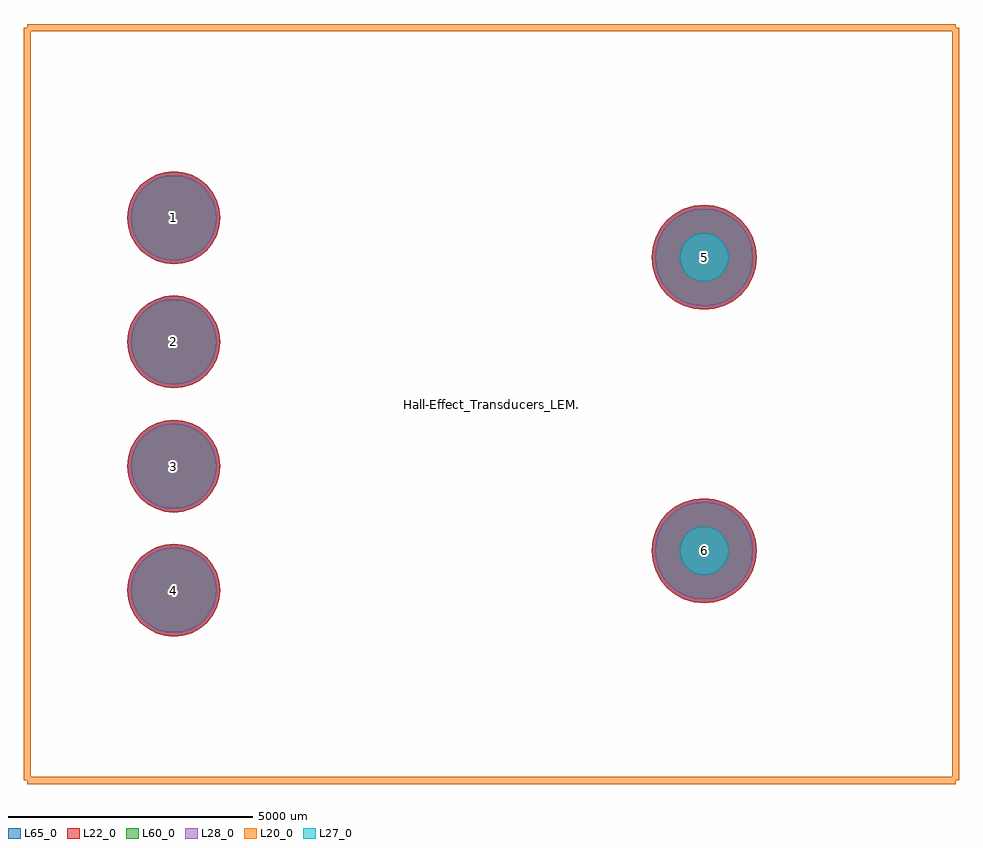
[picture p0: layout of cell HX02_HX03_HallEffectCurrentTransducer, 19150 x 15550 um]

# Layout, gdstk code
import gdstk
lib = gdstk.Library(unit=1e-6, precision=1e-09)
def P(c, l, *ps):  # polygons
    for p in ps: c.add(gdstk.Polygon(p, *l))
L20_0 = (20, 0)
L22_0 = (22, 0)
L27_0 = (27, 0)
L28_0 = (28, 0)
L60_0 = (60, 0)
L65_0 = (65, 0)

hx02_hx03_halleffectcurr = lib.new_cell('HX02_HX03_HallEffectCurrentTransducer')
P(hx02_hx03_halleffectcurr, L22_0, [(-5550,-3810),(-5568.254,-3624.664),(-5622.314,-3446.451),(-5710.104,-3282.208),(-5828.249,-3138.249),(-5972.208,-3020.104),(-6136.451,-2932.314),(-6314.664,-2878.254),(-6500,-2860),(-6685.336,-2878.254),(-6863.549,-2932.314),(-7027.792,-3020.104),(-7171.751,-3138.249),(-7289.896,-3282.208),(-7377.686,-3446.451),(-7431.746,-3624.664),(-7450,-3810),(-7431.746,-3995.336),(-7377.686,-4173.549),(-7289.896,-4337.792),(-7171.751,-4481.751),(-7027.792,-4599.896),(-6863.549,-4687.686),(-6685.336,-4741.746),(-6500,-4760),(-6314.664,-4741.746),(-6136.451,-4687.686),(-5972.208,-4599.896),(-5828.249,-4481.751),(-5710.104,-4337.792),(-5622.314,-4173.549),(-5568.254,-3995.336)],
  [(-5550,3810),(-5568.254,3995.336),(-5622.314,4173.549),(-5710.104,4337.792),(-5828.249,4481.751),(-5972.208,4599.896),(-6136.451,4687.686),(-6314.664,4741.746),(-6500,4760),(-6685.336,4741.746),(-6863.549,4687.686),(-7027.792,4599.896),(-7171.751,4481.751),(-7289.896,4337.792),(-7377.686,4173.549),(-7431.746,3995.336),(-7450,3810),(-7431.746,3624.664),(-7377.686,3446.451),(-7289.896,3282.208),(-7171.751,3138.249),(-7027.792,3020.104),(-6863.549,2932.314),(-6685.336,2878.254),(-6500,2860),(-6314.664,2878.254),(-6136.451,2932.314),(-5972.208,3020.104),(-5828.249,3138.249),(-5710.104,3282.208),(-5622.314,3446.451),(-5568.254,3624.664)],
  [(-5550,1270),(-5568.254,1455.336),(-5622.314,1633.549),(-5710.104,1797.792),(-5828.249,1941.751),(-5972.208,2059.896),(-6136.451,2147.686),(-6314.664,2201.746),(-6500,2220),(-6685.336,2201.746),(-6863.549,2147.686),(-7027.792,2059.896),(-7171.751,1941.751),(-7289.896,1797.792),(-7377.686,1633.549),(-7431.746,1455.336),(-7450,1270),(-7431.746,1084.664),(-7377.686,906.451),(-7289.896,742.208),(-7171.751,598.249),(-7027.792,480.104),(-6863.549,392.314),(-6685.336,338.254),(-6500,320),(-6314.664,338.254),(-6136.451,392.314),(-5972.208,480.104),(-5828.249,598.249),(-5710.104,742.208),(-5622.314,906.451),(-5568.254,1084.664)],
  [(-5550,-1270),(-5568.254,-1084.664),(-5622.314,-906.451),(-5710.104,-742.208),(-5828.249,-598.249),(-5972.208,-480.104),(-6136.451,-392.314),(-6314.664,-338.254),(-6500,-320),(-6685.336,-338.254),(-6863.549,-392.314),(-7027.792,-480.104),(-7171.751,-598.249),(-7289.896,-742.208),(-7377.686,-906.451),(-7431.746,-1084.664),(-7450,-1270),(-7431.746,-1455.336),(-7377.686,-1633.549),(-7289.896,-1797.792),(-7171.751,-1941.751),(-7027.792,-2059.896),(-6863.549,-2147.686),(-6685.336,-2201.746),(-6500,-2220),(-6314.664,-2201.746),(-6136.451,-2147.686),(-5972.208,-2059.896),(-5828.249,-1941.751),(-5710.104,-1797.792),(-5622.314,-1633.549),(-5568.254,-1455.336)],
  [(5425,-3000),(5404.344,-2790.278),(5343.17,-2588.615),(5243.83,-2402.762),(5110.14,-2239.86),(4947.238,-2106.17),(4761.385,-2006.83),(4559.722,-1945.656),(4350,-1925),(4140.278,-1945.656),(3938.615,-2006.83),(3752.762,-2106.17),(3589.86,-2239.86),(3456.17,-2402.762),(3356.83,-2588.615),(3295.656,-2790.278),(3275,-3000),(3295.656,-3209.722),(3356.83,-3411.385),(3456.17,-3597.238),(3589.86,-3760.14),(3752.762,-3893.83),(3938.615,-3993.17),(4140.278,-4054.344),(4350,-4075),(4559.722,-4054.344),(4761.385,-3993.17),(4947.238,-3893.83),(5110.14,-3760.14),(5243.83,-3597.238),(5343.17,-3411.385),(5404.344,-3209.722)],
  [(5425,3000),(5404.344,3209.722),(5343.17,3411.385),(5243.83,3597.238),(5110.14,3760.14),(4947.238,3893.83),(4761.385,3993.17),(4559.722,4054.344),(4350,4075),(4140.278,4054.344),(3938.615,3993.17),(3752.762,3893.83),(3589.86,3760.14),(3456.17,3597.238),(3356.83,3411.385),(3295.656,3209.722),(3275,3000),(3295.656,2790.278),(3356.83,2588.615),(3456.17,2402.762),(3589.86,2239.86),(3752.762,2106.17),(3938.615,2006.83),(4140.278,1945.656),(4350,1925),(4559.722,1945.656),(4761.385,2006.83),(4947.238,2106.17),(5110.14,2239.86),(5243.83,2402.762),(5343.17,2588.615),(5404.344,2790.278)])
P(hx02_hx03_halleffectcurr, L27_0, [(4849.999,-3000),(4840.392,-2902.455),(4811.939,-2808.659),(4765.734,-2722.215),(4703.553,-2646.447),(4627.785,-2584.266),(4541.341,-2538.061),(4447.545,-2509.608),(4350,-2500.001),(4252.455,-2509.608),(4158.659,-2538.061),(4072.215,-2584.266),(3996.447,-2646.447),(3934.266,-2722.215),(3888.061,-2808.659),(3859.608,-2902.455),(3850.001,-3000),(3859.608,-3097.545),(3888.061,-3191.341),(3934.266,-3277.785),(3996.447,-3353.553),(4072.215,-3415.734),(4158.659,-3461.939),(4252.455,-3490.392),(4350,-3499.999),(4447.545,-3490.392),(4541.341,-3461.939),(4627.785,-3415.734),(4703.553,-3353.553),(4765.734,-3277.785),(4811.939,-3191.341),(4840.392,-3097.545)],
  [(4849.999,3000),(4840.392,3097.545),(4811.939,3191.341),(4765.734,3277.785),(4703.553,3353.553),(4627.785,3415.734),(4541.341,3461.939),(4447.545,3490.392),(4350,3499.999),(4252.455,3490.392),(4158.659,3461.939),(4072.215,3415.734),(3996.447,3353.553),(3934.266,3277.785),(3888.061,3191.341),(3859.608,3097.545),(3850.001,3000),(3859.608,2902.455),(3888.061,2808.659),(3934.266,2722.215),(3996.447,2646.447),(4072.215,2584.266),(4158.659,2538.061),(4252.455,2509.608),(4350,2500.001),(4447.545,2509.608),(4541.341,2538.061),(4627.785,2584.266),(4703.553,2646.447),(4765.734,2722.215),(4811.939,2808.659),(4840.392,2902.455)])
P(hx02_hx03_halleffectcurr, L28_0, [(-5625,-3810),(-5641.813,-3639.296),(-5691.605,-3475.152),(-5772.464,-3323.876),(-5881.282,-3191.282),(-6013.876,-3082.464),(-6165.152,-3001.605),(-6329.296,-2951.813),(-6500,-2935),(-6670.704,-2951.813),(-6834.848,-3001.605),(-6986.124,-3082.464),(-7118.718,-3191.282),(-7227.536,-3323.876),(-7308.395,-3475.152),(-7358.187,-3639.296),(-7375,-3810),(-7358.187,-3980.704),(-7308.395,-4144.848),(-7227.536,-4296.124),(-7118.718,-4428.718),(-6986.124,-4537.536),(-6834.848,-4618.395),(-6670.704,-4668.187),(-6500,-4685),(-6329.296,-4668.187),(-6165.152,-4618.395),(-6013.876,-4537.536),(-5881.282,-4428.718),(-5772.464,-4296.124),(-5691.605,-4144.848),(-5641.813,-3980.704)],
  [(-5625,3810),(-5641.813,3980.704),(-5691.605,4144.848),(-5772.464,4296.124),(-5881.282,4428.718),(-6013.876,4537.536),(-6165.152,4618.395),(-6329.296,4668.187),(-6500,4685),(-6670.704,4668.187),(-6834.848,4618.395),(-6986.124,4537.536),(-7118.718,4428.718),(-7227.536,4296.124),(-7308.395,4144.848),(-7358.187,3980.704),(-7375,3810),(-7358.187,3639.296),(-7308.395,3475.152),(-7227.536,3323.876),(-7118.718,3191.282),(-6986.124,3082.464),(-6834.848,3001.605),(-6670.704,2951.813),(-6500,2935),(-6329.296,2951.813),(-6165.152,3001.605),(-6013.876,3082.464),(-5881.282,3191.282),(-5772.464,3323.876),(-5691.605,3475.152),(-5641.813,3639.296)],
  [(-5625,1270),(-5641.813,1440.704),(-5691.605,1604.848),(-5772.464,1756.124),(-5881.282,1888.718),(-6013.876,1997.536),(-6165.152,2078.395),(-6329.296,2128.187),(-6500,2145),(-6670.704,2128.187),(-6834.848,2078.395),(-6986.124,1997.536),(-7118.718,1888.718),(-7227.536,1756.124),(-7308.395,1604.848),(-7358.187,1440.704),(-7375,1270),(-7358.187,1099.296),(-7308.395,935.152),(-7227.536,783.876),(-7118.718,651.282),(-6986.124,542.464),(-6834.848,461.605),(-6670.704,411.813),(-6500,395),(-6329.296,411.813),(-6165.152,461.605),(-6013.876,542.464),(-5881.282,651.282),(-5772.464,783.876),(-5691.605,935.152),(-5641.813,1099.296)],
  [(-5625,-1270),(-5641.813,-1099.296),(-5691.605,-935.152),(-5772.464,-783.876),(-5881.282,-651.282),(-6013.876,-542.464),(-6165.152,-461.605),(-6329.296,-411.813),(-6500,-395),(-6670.704,-411.813),(-6834.848,-461.605),(-6986.124,-542.464),(-7118.718,-651.282),(-7227.536,-783.876),(-7308.395,-935.152),(-7358.187,-1099.296),(-7375,-1270),(-7358.187,-1440.704),(-7308.395,-1604.848),(-7227.536,-1756.124),(-7118.718,-1888.718),(-6986.124,-1997.536),(-6834.848,-2078.395),(-6670.704,-2128.187),(-6500,-2145),(-6329.296,-2128.187),(-6165.152,-2078.395),(-6013.876,-1997.536),(-5881.282,-1888.718),(-5772.464,-1756.124),(-5691.605,-1604.848),(-5641.813,-1440.704)],
  [(5350,-3000),(5330.785,-2804.91),(5273.88,-2617.317),(5181.47,-2444.43),(5057.107,-2292.893),(4905.57,-2168.53),(4732.683,-2076.12),(4545.09,-2019.215),(4350,-2000),(4154.91,-2019.215),(3967.317,-2076.12),(3794.43,-2168.53),(3642.893,-2292.893),(3518.53,-2444.43),(3426.12,-2617.317),(3369.215,-2804.91),(3350,-3000),(3369.215,-3195.09),(3426.12,-3382.683),(3518.53,-3555.57),(3642.893,-3707.107),(3794.43,-3831.47),(3967.317,-3923.88),(4154.91,-3980.785),(4350,-4000),(4545.09,-3980.785),(4732.683,-3923.88),(4905.57,-3831.47),(5057.107,-3707.107),(5181.47,-3555.57),(5273.88,-3382.683),(5330.785,-3195.09)],
  [(5350,3000),(5330.785,3195.09),(5273.88,3382.683),(5181.47,3555.57),(5057.107,3707.107),(4905.57,3831.47),(4732.683,3923.88),(4545.09,3980.785),(4350,4000),(4154.91,3980.785),(3967.317,3923.88),(3794.43,3831.47),(3642.893,3707.107),(3518.53,3555.57),(3426.12,3382.683),(3369.215,3195.09),(3350,3000),(3369.215,2804.91),(3426.12,2617.317),(3518.53,2444.43),(3642.893,2292.893),(3794.43,2168.53),(3967.317,2076.12),(4154.91,2019.215),(4350,2000),(4545.09,2019.215),(4732.683,2076.12),(4905.57,2168.53),(5057.107,2292.893),(5181.47,2444.43),(5273.88,2617.317),(5330.785,2804.91)])
P(hx02_hx03_halleffectcurr, L60_0, [(-5625,-3810),(-5641.813,-3639.296),(-5691.605,-3475.152),(-5772.464,-3323.876),(-5881.282,-3191.282),(-6013.876,-3082.464),(-6165.152,-3001.605),(-6329.296,-2951.813),(-6500,-2935),(-6670.704,-2951.813),(-6834.848,-3001.605),(-6986.124,-3082.464),(-7118.718,-3191.282),(-7227.536,-3323.876),(-7308.395,-3475.152),(-7358.187,-3639.296),(-7375,-3810),(-7358.187,-3980.704),(-7308.395,-4144.848),(-7227.536,-4296.124),(-7118.718,-4428.718),(-6986.124,-4537.536),(-6834.848,-4618.395),(-6670.704,-4668.187),(-6500,-4685),(-6329.296,-4668.187),(-6165.152,-4618.395),(-6013.876,-4537.536),(-5881.282,-4428.718),(-5772.464,-4296.124),(-5691.605,-4144.848),(-5641.813,-3980.704)],
  [(-5625,3810),(-5641.813,3980.704),(-5691.605,4144.848),(-5772.464,4296.124),(-5881.282,4428.718),(-6013.876,4537.536),(-6165.152,4618.395),(-6329.296,4668.187),(-6500,4685),(-6670.704,4668.187),(-6834.848,4618.395),(-6986.124,4537.536),(-7118.718,4428.718),(-7227.536,4296.124),(-7308.395,4144.848),(-7358.187,3980.704),(-7375,3810),(-7358.187,3639.296),(-7308.395,3475.152),(-7227.536,3323.876),(-7118.718,3191.282),(-6986.124,3082.464),(-6834.848,3001.605),(-6670.704,2951.813),(-6500,2935),(-6329.296,2951.813),(-6165.152,3001.605),(-6013.876,3082.464),(-5881.282,3191.282),(-5772.464,3323.876),(-5691.605,3475.152),(-5641.813,3639.296)],
  [(-5625,1270),(-5641.813,1440.704),(-5691.605,1604.848),(-5772.464,1756.124),(-5881.282,1888.718),(-6013.876,1997.536),(-6165.152,2078.395),(-6329.296,2128.187),(-6500,2145),(-6670.704,2128.187),(-6834.848,2078.395),(-6986.124,1997.536),(-7118.718,1888.718),(-7227.536,1756.124),(-7308.395,1604.848),(-7358.187,1440.704),(-7375,1270),(-7358.187,1099.296),(-7308.395,935.152),(-7227.536,783.876),(-7118.718,651.282),(-6986.124,542.464),(-6834.848,461.605),(-6670.704,411.813),(-6500,395),(-6329.296,411.813),(-6165.152,461.605),(-6013.876,542.464),(-5881.282,651.282),(-5772.464,783.876),(-5691.605,935.152),(-5641.813,1099.296)],
  [(-5625,-1270),(-5641.813,-1099.296),(-5691.605,-935.152),(-5772.464,-783.876),(-5881.282,-651.282),(-6013.876,-542.464),(-6165.152,-461.605),(-6329.296,-411.813),(-6500,-395),(-6670.704,-411.813),(-6834.848,-461.605),(-6986.124,-542.464),(-7118.718,-651.282),(-7227.536,-783.876),(-7308.395,-935.152),(-7358.187,-1099.296),(-7375,-1270),(-7358.187,-1440.704),(-7308.395,-1604.848),(-7227.536,-1756.124),(-7118.718,-1888.718),(-6986.124,-1997.536),(-6834.848,-2078.395),(-6670.704,-2128.187),(-6500,-2145),(-6329.296,-2128.187),(-6165.152,-2078.395),(-6013.876,-1997.536),(-5881.282,-1888.718),(-5772.464,-1756.124),(-5691.605,-1604.848),(-5641.813,-1440.704)],
  [(5350,-3000),(5330.785,-2804.91),(5273.88,-2617.317),(5181.47,-2444.43),(5057.107,-2292.893),(4905.57,-2168.53),(4732.683,-2076.12),(4545.09,-2019.215),(4350,-2000),(4154.91,-2019.215),(3967.317,-2076.12),(3794.43,-2168.53),(3642.893,-2292.893),(3518.53,-2444.43),(3426.12,-2617.317),(3369.215,-2804.91),(3350,-3000),(3369.215,-3195.09),(3426.12,-3382.683),(3518.53,-3555.57),(3642.893,-3707.107),(3794.43,-3831.47),(3967.317,-3923.88),(4154.91,-3980.785),(4350,-4000),(4545.09,-3980.785),(4732.683,-3923.88),(4905.57,-3831.47),(5057.107,-3707.107),(5181.47,-3555.57),(5273.88,-3382.683),(5330.785,-3195.09)],
  [(5350,3000),(5330.785,3195.09),(5273.88,3382.683),(5181.47,3555.57),(5057.107,3707.107),(4905.57,3831.47),(4732.683,3923.88),(4545.09,3980.785),(4350,4000),(4154.91,3980.785),(3967.317,3923.88),(3794.43,3831.47),(3642.893,3707.107),(3518.53,3555.57),(3426.12,3382.683),(3369.215,3195.09),(3350,3000),(3369.215,2804.91),(3426.12,2617.317),(3518.53,2444.43),(3642.893,2292.893),(3794.43,2168.53),(3967.317,2076.12),(4154.91,2019.215),(4350,2000),(4545.09,2019.215),(4732.683,2076.12),(4905.57,2168.53),(5057.107,2292.893),(5181.47,2444.43),(5273.88,2617.317),(5330.785,2804.91)])
P(hx02_hx03_halleffectcurr, L65_0, [(-5550,-3810),(-5568.254,-3624.664),(-5622.314,-3446.451),(-5710.104,-3282.208),(-5828.249,-3138.249),(-5972.208,-3020.104),(-6136.451,-2932.314),(-6314.664,-2878.254),(-6500,-2860),(-6685.336,-2878.254),(-6863.549,-2932.314),(-7027.792,-3020.104),(-7171.751,-3138.249),(-7289.896,-3282.208),(-7377.686,-3446.451),(-7431.746,-3624.664),(-7450,-3810),(-7431.746,-3995.336),(-7377.686,-4173.549),(-7289.896,-4337.792),(-7171.751,-4481.751),(-7027.792,-4599.896),(-6863.549,-4687.686),(-6685.336,-4741.746),(-6500,-4760),(-6314.664,-4741.746),(-6136.451,-4687.686),(-5972.208,-4599.896),(-5828.249,-4481.751),(-5710.104,-4337.792),(-5622.314,-4173.549),(-5568.254,-3995.336)],
  [(-5550,3810),(-5568.254,3995.336),(-5622.314,4173.549),(-5710.104,4337.792),(-5828.249,4481.751),(-5972.208,4599.896),(-6136.451,4687.686),(-6314.664,4741.746),(-6500,4760),(-6685.336,4741.746),(-6863.549,4687.686),(-7027.792,4599.896),(-7171.751,4481.751),(-7289.896,4337.792),(-7377.686,4173.549),(-7431.746,3995.336),(-7450,3810),(-7431.746,3624.664),(-7377.686,3446.451),(-7289.896,3282.208),(-7171.751,3138.249),(-7027.792,3020.104),(-6863.549,2932.314),(-6685.336,2878.254),(-6500,2860),(-6314.664,2878.254),(-6136.451,2932.314),(-5972.208,3020.104),(-5828.249,3138.249),(-5710.104,3282.208),(-5622.314,3446.451),(-5568.254,3624.664)],
  [(-5550,1270),(-5568.254,1455.336),(-5622.314,1633.549),(-5710.104,1797.792),(-5828.249,1941.751),(-5972.208,2059.896),(-6136.451,2147.686),(-6314.664,2201.746),(-6500,2220),(-6685.336,2201.746),(-6863.549,2147.686),(-7027.792,2059.896),(-7171.751,1941.751),(-7289.896,1797.792),(-7377.686,1633.549),(-7431.746,1455.336),(-7450,1270),(-7431.746,1084.664),(-7377.686,906.451),(-7289.896,742.208),(-7171.751,598.249),(-7027.792,480.104),(-6863.549,392.314),(-6685.336,338.254),(-6500,320),(-6314.664,338.254),(-6136.451,392.314),(-5972.208,480.104),(-5828.249,598.249),(-5710.104,742.208),(-5622.314,906.451),(-5568.254,1084.664)],
  [(-5550,-1270),(-5568.254,-1084.664),(-5622.314,-906.451),(-5710.104,-742.208),(-5828.249,-598.249),(-5972.208,-480.104),(-6136.451,-392.314),(-6314.664,-338.254),(-6500,-320),(-6685.336,-338.254),(-6863.549,-392.314),(-7027.792,-480.104),(-7171.751,-598.249),(-7289.896,-742.208),(-7377.686,-906.451),(-7431.746,-1084.664),(-7450,-1270),(-7431.746,-1455.336),(-7377.686,-1633.549),(-7289.896,-1797.792),(-7171.751,-1941.751),(-7027.792,-2059.896),(-6863.549,-2147.686),(-6685.336,-2201.746),(-6500,-2220),(-6314.664,-2201.746),(-6136.451,-2147.686),(-5972.208,-2059.896),(-5828.249,-1941.751),(-5710.104,-1797.792),(-5622.314,-1633.549),(-5568.254,-1455.336)],
  [(5425,-3000),(5404.344,-2790.278),(5343.17,-2588.615),(5243.83,-2402.762),(5110.14,-2239.86),(4947.238,-2106.17),(4761.385,-2006.83),(4559.722,-1945.656),(4350,-1925),(4140.278,-1945.656),(3938.615,-2006.83),(3752.762,-2106.17),(3589.86,-2239.86),(3456.17,-2402.762),(3356.83,-2588.615),(3295.656,-2790.278),(3275,-3000),(3295.656,-3209.722),(3356.83,-3411.385),(3456.17,-3597.238),(3589.86,-3760.14),(3752.762,-3893.83),(3938.615,-3993.17),(4140.278,-4054.344),(4350,-4075),(4559.722,-4054.344),(4761.385,-3993.17),(4947.238,-3893.83),(5110.14,-3760.14),(5243.83,-3597.238),(5343.17,-3411.385),(5404.344,-3209.722)],
  [(5425,3000),(5404.344,3209.722),(5343.17,3411.385),(5243.83,3597.238),(5110.14,3760.14),(4947.238,3893.83),(4761.385,3993.17),(4559.722,4054.344),(4350,4075),(4140.278,4054.344),(3938.615,3993.17),(3752.762,3893.83),(3589.86,3760.14),(3456.17,3597.238),(3356.83,3411.385),(3295.656,3209.722),(3275,3000),(3295.656,2790.278),(3356.83,2588.615),(3456.17,2402.762),(3589.86,2239.86),(3752.762,2106.17),(3938.615,2006.83),(4140.278,1945.656),(4350,1925),(4559.722,1945.656),(4761.385,2006.83),(4947.238,2106.17),(5110.14,2239.86),(5243.83,2402.762),(5343.17,2588.615),(5404.344,2790.278)])
hx02_hx03_halleffectcurr.add(gdstk.FlexPath([(-9500,7700),(-9500,-7700)], 149.998, ends="flush", simple_path=True, layer=20, datatype=0))  # L20_0
hx02_hx03_halleffectcurr.add(gdstk.FlexPath([(9500,7700),(-9500,7700)], 149.998, ends="flush", simple_path=True, layer=20, datatype=0))  # L20_0
hx02_hx03_halleffectcurr.add(gdstk.FlexPath([(9500,-7700),(9500,7700)], 149.998, ends="flush", simple_path=True, layer=20, datatype=0))  # L20_0
hx02_hx03_halleffectcurr.add(gdstk.FlexPath([(-9500,-7700),(9500,-7700)], 149.998, ends="flush", simple_path=True, layer=20, datatype=0))  # L20_0
hx02_hx03_halleffectcurr.add(gdstk.Label('Hall-Effect_Transducers_LEM.3dshapes/HX02_HX03_HallEffectCurrentTransducer.wrl', (0,0), layer=12, texttype=0))
hx02_hx03_halleffectcurr.add(gdstk.Label('4', (-6500,-3810), layer=28, texttype=0))
hx02_hx03_halleffectcurr.add(gdstk.Label('1', (-6500,3810), layer=28, texttype=0))
hx02_hx03_halleffectcurr.add(gdstk.Label('2', (-6500,1270), layer=28, texttype=0))
hx02_hx03_halleffectcurr.add(gdstk.Label('3', (-6500,-1270), layer=28, texttype=0))
hx02_hx03_halleffectcurr.add(gdstk.Label('6', (4350,-3000), layer=28, texttype=0))
hx02_hx03_halleffectcurr.add(gdstk.Label('5', (4350,3000), layer=28, texttype=0))
hx02_hx03_halleffectcurr.add(gdstk.Label('type', (100,-10200), layer=9, texttype=0))
hx02_hx03_halleffectcurr.add(gdstk.Label('devicename', (100,10800), layer=9, texttype=0))

lib.write_gds('HX02_HX03_HallEffectCurrentTransducer.gds')
